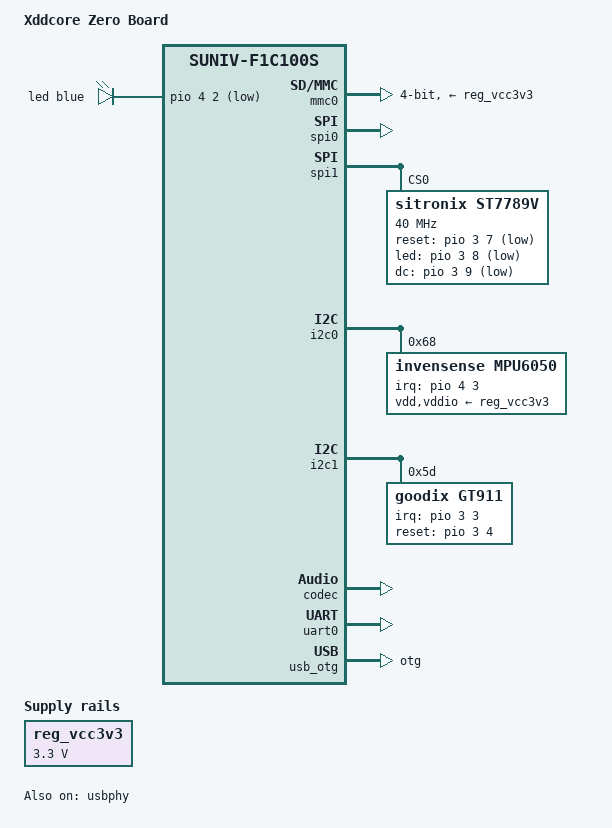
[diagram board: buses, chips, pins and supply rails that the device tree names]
// SPDX-License-Identifier: (GPL-2.0+ OR MIT)
/*
 * Copyright 2022 Icenowy Zheng <uwu@icenowy.me>
 * Modify by xddcore 2023
 */

/dts-v1/;
#include "suniv-f1c100s.dtsi"

#include <dt-bindings/gpio/gpio.h>
#include <dt-bindings/input/input.h>
#include <dt-bindings/leds/common.h>
#include <dt-bindings/interrupt-controller/irq.h>

/ {
	model = "Xddcore Zero Board";
	compatible = "xddcore,Zero Board","allwinner,suniv-f1c200s", 
				 "allwinner,suniv-f1c100s";

	aliases {
		serial0 = &uart0;
	};

	chosen {
		stdout-path = "serial0:115200n8";
	};

	leds {
		compatible = "gpio-leds";

		led {
			function = LED_FUNCTION_STATUS;
			color = <LED_COLOR_ID_BLUE>;
			gpios = <&pio 4 2 GPIO_ACTIVE_LOW>; /* PE2 */
			linux,default-trigger = "heartbeat";
		};
	};

	reg_vcc3v3: regulator-3v3 {
		compatible = "regulator-fixed";
		regulator-name = "vcc3v3";
		regulator-min-microvolt = <3300000>;
		regulator-max-microvolt = <3300000>;
	};
};

&mmc0 {
	broken-cd;
	bus-width = <4>;
	disable-wp;
	vmmc-supply = <&reg_vcc3v3>;
	status = "okay";
};


&spi0 {
        pinctrl-names = "default";
        pinctrl-0 = <&spi0_pc_pins>;
        status = "okay";
};

&spi1 {
        pinctrl-names = "default";
        pinctrl-0 = <&spi1_pc_pins>;
        status = "okay";
		st7789v@0 {
			status = "okay";
			compatible = "sitronix,st7789v";
				reg = <0>;
				spi-max-frequency =<40000000>;        //SPI时钟40M,差不多是st7789v的极限，理论帧率32FPS
				rotate =<90>;                    //屏幕旋转90度
				spi-cpol;
				spi-cpha;
				rgb;                           //颜色格式RGB
				fps =<30>;                      //刷新30帧率
				buswidth =<8>;                   //总线宽度8
				reset-gpios =<&pio 3 7 GPIO_ACTIVE_LOW>;   //PD7
				led-gpios =<&pio 3 8 GPIO_ACTIVE_LOW>;   //PD8
				dc-gpios =<&pio 3 9 GPIO_ACTIVE_LOW>;   //PD9
				debug =<0>;                     //不开启调试
        };
};

&i2c0 {
        pinctrl-names = "default";
        pinctrl-0 = <&i2c0_pins>;
        status = "okay";

		/* Accelerometer/gyroscope */
		mpu6050@68 {
			compatible = "invensense,mpu6050";
			reg = <0x68>;
			interrupt-parent = <&pio>;
			interrupts = <4 3 IRQ_TYPE_EDGE_RISING>; /* PE3 */
			vdd-supply = <&reg_vcc3v3>;
			vddio-supply = <&reg_vcc3v3>;
			mount-matrix = "-0.984807753012208",  /* x0 */
		               	   "0",                   /* y0 */
		               	   "-0.173648177666930",  /* z0 */
		                   "0",                   /* x1 */
		                   "-1",                  /* y1 */
		                   "0",                   /* z1 */
		                   "-0.173648177666930",  /* x2 */
		                   "0",                   /* y2 */
		                   "0.984807753012208";   /* z2 */
		};
};

&i2c1{
        pinctrl-names = "default";
        pinctrl-0 = <&i2c1_pins>;
        status = "okay";
		gt911: touchscreen@5d {
			compatible = "goodix,gt911";
			reg = <0x5d>;
			interrupt-parent = <&pio>;
			interrupts = <3 3 IRQ_TYPE_EDGE_FALLING>; /* EINT3 (PD3) */
			irq-gpios = <&pio 3 3 GPIO_ACTIVE_HIGH>; /* INT (PD3) */
			reset-gpios = <&pio 3 4 GPIO_ACTIVE_HIGH>; /* RST (PD4) */
			touchscreen-swapped-x-y;
			touchscreen-inverted-y;
			};
};

&codec {
    allwinner,audio-routing =
    "Headphone", "HP",
    "Headphone", "HPCOM",
    "MIC", "Mic";
    status = "okay";
};

&uart0 {
	pinctrl-names = "default";
	pinctrl-0 = <&uart0_pe_pins>;
	status = "okay";
};

&otg_sram {
        status = "okay";
};

&usb_otg {
        dr_mode = "otg"; /* otg / host / peripheral */
        status = "okay";
};

&usbphy {
       /* usb0_id_det-gpio = <&pio 4 2 GPIO_ACTIVE_HIGH>; PE2 */
        status = "okay";
};
